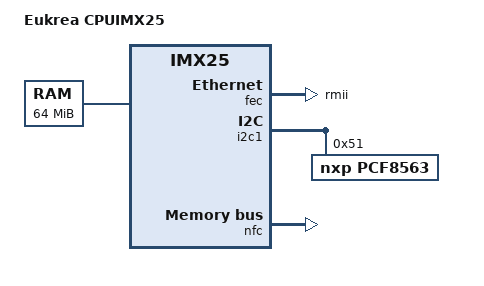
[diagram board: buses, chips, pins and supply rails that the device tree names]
/*
 * Copyright 2013 Eukréa Electromatique <denis@eukrea.com>
 *
 * This program is free software; you can redistribute it and/or
 * modify it under the terms of the GNU General Public License
 * as published by the Free Software Foundation; either version 2
 * of the License, or (at your option) any later version.
 * This program is distributed in the hope that it will be useful,
 * but WITHOUT ANY WARRANTY; without even the implied warranty of
 * MERCHANTABILITY or FITNESS FOR A PARTICULAR PURPOSE.  See the
 * GNU General Public License for more details.
 */

#include "imx25.dtsi"

/ {
	model = "Eukrea CPUIMX25";
	compatible = "eukrea,cpuimx25", "fsl,imx25";

	memory {
		reg = <0x80000000 0x4000000>; /* 64M */
	};
};

&fec {
	phy-mode = "rmii";
	pinctrl-names = "default";
	pinctrl-0 = <&pinctrl_fec>;
	status = "okay";
};

&i2c1 {
	pinctrl-names = "default";
	pinctrl-0 = <&pinctrl_i2c1>;
	status = "okay";

	pcf8563@51 {
		compatible = "nxp,pcf8563";
		reg = <0x51>;
	};
};

&iomuxc {
	imx25-eukrea-cpuimx25 {
		pinctrl_fec: fecgrp {
			fsl,pins = <MX25_FEC_PINGRP1>;
		};

		pinctrl_i2c1: i2c1grp {
			fsl,pins = <MX25_I2C1_PINGRP1>;
		};
	};
};

&nfc {
	nand-bus-width = <8>;
	nand-ecc-mode = "hw";
	nand-on-flash-bbt;
	status = "okay";
};
